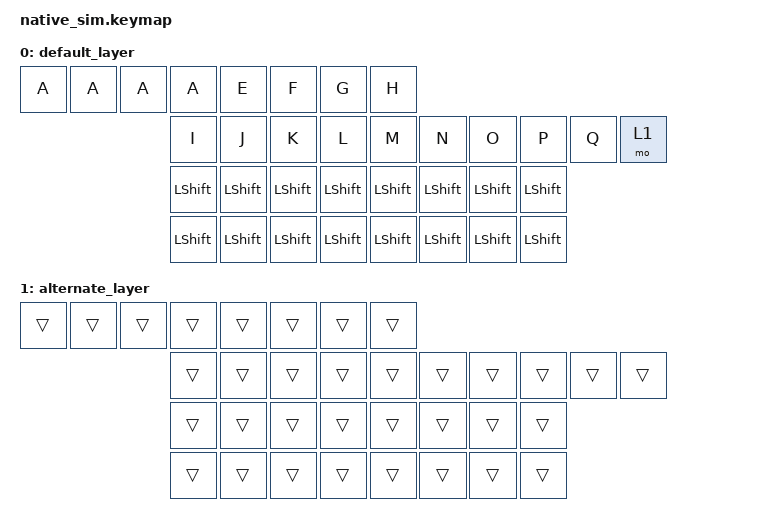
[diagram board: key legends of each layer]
#include <dt-bindings/zmk/keys.h>
#include <behaviors.dtsi>
#include <dt-bindings/zmk/kscan_mock.h>
/ {
    behaviors {
        combo_ht: combo_hold_tap {
            compatible = "zmk,behavior-hold-tap";
            #binding-cells = <2>;
            tapping-term-ms = <100>;
            flavor = "tap-preferred";
            bindings = <&kp>, <&kp>;
        };
    };
    /* Read-only during the boot-load, global-save-failure and generic-write
     * groups, so no write of their own marks the cache. */
    runtime_combo_defaults {
        compatible = "cormoran,runtime-combo-defaults";
        combo_default_d {
            slot = <5>;
            key-positions = <2 3>;
            bindings = <&kp D>;
        };
    };
    keymap {
        compatible = "zmk,keymap";
        default_layer {
            bindings = <&kp A &kp A &kp A &kp A &kp E &kp F &kp G &kp H
                        &kp I &kp J &kp K &kp L &kp M &kp N &kp O &kp P &kp Q &mo 1
                        &kp LSHFT &kp LSHFT &kp LSHFT &kp LSHFT &kp LSHFT &kp LSHFT &kp LSHFT &kp LSHFT
                        &kp LSHFT &kp LSHFT &kp LSHFT &kp LSHFT &kp LSHFT &kp LSHFT &kp LSHFT &kp LSHFT>;
        };
        alternate_layer {
            bindings = <&trans &trans &trans &trans &trans &trans &trans &trans
                        &trans &trans &trans &trans &trans &trans &trans &trans &trans &trans
                        &trans &trans &trans &trans &trans &trans &trans &trans
                        &trans &trans &trans &trans &trans &trans &trans &trans>;
        };
    };
};
&kscan {
    /* Keep the original two columns: (1,1) is still position3. Extend rows
     * so every binding and reentrant test position belongs to the matrix. */
    rows = <17>;
    columns = <2>;
    events = <ZMK_MOCK_PRESS(1,1,10) ZMK_MOCK_RELEASE(1,1,30000)>;
};
